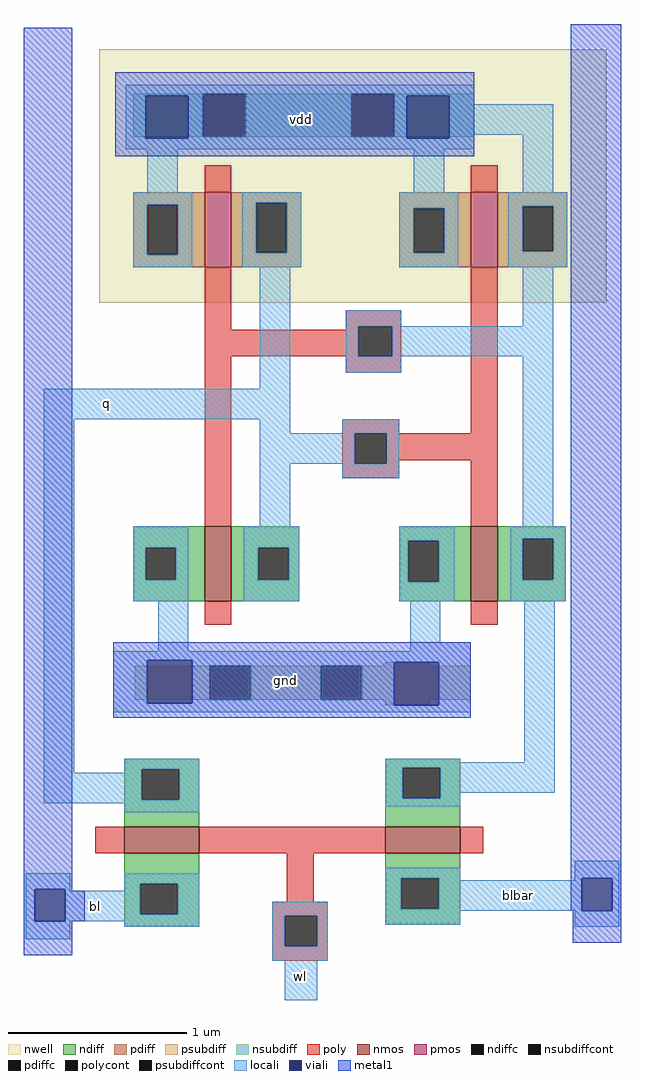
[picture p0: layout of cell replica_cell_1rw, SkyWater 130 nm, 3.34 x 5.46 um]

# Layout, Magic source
magic
tech sky130A
<< nwell >>
rect 699 207 983 349
<< nmos >>
rect 758 40 773 82
rect 907 40 922 82
rect 713 -101 755 -86
rect 859 -101 901 -86
<< pmos >>
rect 758 227 773 269
rect 907 227 922 269
<< ndiff >>
rect 718 70 758 82
rect 718 52 725 70
rect 742 52 758 70
rect 718 40 758 52
rect 773 70 811 82
rect 773 52 788 70
rect 805 52 811 70
rect 773 40 811 52
rect 867 74 907 82
rect 867 51 872 74
rect 889 51 907 74
rect 867 40 907 51
rect 922 75 960 82
rect 922 52 936 75
rect 953 52 960 75
rect 922 40 960 52
rect 713 -54 755 -48
rect 713 -71 723 -54
rect 744 -71 755 -54
rect 713 -86 755 -71
rect 859 -53 901 -48
rect 859 -70 869 -53
rect 890 -70 901 -53
rect 859 -86 901 -70
rect 713 -118 755 -101
rect 713 -135 722 -118
rect 743 -135 755 -118
rect 859 -115 901 -101
rect 713 -142 755 -135
rect 859 -132 868 -115
rect 889 -132 901 -115
rect 859 -141 901 -132
<< pdiff >>
rect 718 262 758 269
rect 718 234 726 262
rect 743 234 758 262
rect 718 227 758 234
rect 773 263 812 269
rect 773 235 787 263
rect 804 235 812 263
rect 773 227 812 235
rect 867 260 907 269
rect 867 235 875 260
rect 892 235 907 260
rect 867 227 907 235
rect 922 261 961 269
rect 922 236 936 261
rect 953 236 961 261
rect 922 227 961 236
<< ndiffc >>
rect 725 52 742 70
rect 788 52 805 70
rect 872 51 889 74
rect 936 52 953 75
rect 723 -71 744 -54
rect 869 -70 890 -53
rect 722 -135 743 -118
rect 868 -132 889 -115
<< pdiffc >>
rect 726 234 743 262
rect 787 235 804 263
rect 875 235 892 260
rect 936 236 953 261
<< psubdiff >>
rect 859 4 884 6
rect 719 -15 761 4
rect 784 -15 823 4
rect 846 -15 907 4
rect 859 -18 884 -15
<< nsubdiff >>
rect 718 300 757 324
rect 781 300 840 324
rect 864 300 909 324
<< psubdiffcont >>
rect 761 -15 784 4
rect 823 -15 846 4
<< nsubdiffcont >>
rect 757 300 781 324
rect 840 300 864 324
<< poly >>
rect 758 269 773 284
rect 907 269 922 284
rect 758 192 773 227
rect 837 194 868 203
rect 837 192 844 194
rect 758 177 844 192
rect 863 177 868 194
rect 758 82 773 177
rect 837 168 868 177
rect 835 134 867 142
rect 907 134 922 227
rect 835 117 842 134
rect 860 119 922 134
rect 860 117 867 119
rect 835 109 867 117
rect 907 82 922 119
rect 758 27 773 40
rect 907 27 922 40
rect 697 -101 713 -86
rect 755 -101 859 -86
rect 901 -101 914 -86
rect 804 -128 819 -101
rect 796 -136 827 -128
rect 796 -153 803 -136
rect 821 -153 827 -136
rect 796 -161 827 -153
<< polycont >>
rect 844 177 863 194
rect 842 117 860 134
rect 803 -153 821 -136
<< locali >>
rect 714 324 909 329
rect 714 323 757 324
rect 714 299 725 323
rect 749 300 757 323
rect 781 300 840 324
rect 864 323 909 324
rect 864 300 871 323
rect 749 299 871 300
rect 895 318 909 323
rect 895 301 953 318
rect 895 299 909 301
rect 714 293 909 299
rect 726 269 743 293
rect 875 269 892 293
rect 936 269 953 301
rect 718 262 751 269
rect 718 234 726 262
rect 743 234 751 262
rect 718 227 751 234
rect 779 263 812 269
rect 779 235 787 263
rect 804 235 812 263
rect 779 227 812 235
rect 867 260 900 269
rect 867 235 875 260
rect 892 235 900 260
rect 867 227 900 235
rect 928 261 961 269
rect 928 236 936 261
rect 953 236 961 261
rect 928 227 961 236
rect 789 159 806 227
rect 837 194 868 203
rect 936 194 953 227
rect 837 177 844 194
rect 863 177 953 194
rect 837 168 868 177
rect 668 142 806 159
rect 668 -56 685 142
rect 789 134 806 142
rect 835 134 867 142
rect 789 117 842 134
rect 860 117 867 134
rect 789 82 806 117
rect 835 109 867 117
rect 936 82 953 177
rect 718 70 749 82
rect 718 52 725 70
rect 742 52 749 70
rect 718 40 749 52
rect 780 70 811 82
rect 780 52 788 70
rect 805 52 811 70
rect 780 40 811 52
rect 867 74 898 82
rect 867 51 872 74
rect 889 51 898 74
rect 867 40 898 51
rect 929 75 960 82
rect 929 52 936 75
rect 953 52 960 75
rect 929 40 960 52
rect 732 12 749 40
rect 873 17 890 40
rect 873 12 907 17
rect 707 7 907 12
rect 707 -17 726 7
rect 751 6 907 7
rect 751 4 864 6
rect 751 -15 761 4
rect 784 -15 823 4
rect 846 -15 864 4
rect 751 -17 864 -15
rect 707 -18 864 -17
rect 889 -18 907 6
rect 707 -22 907 -18
rect 713 -54 755 -48
rect 713 -56 723 -54
rect 668 -71 723 -56
rect 744 -71 755 -54
rect 668 -73 755 -71
rect 713 -78 755 -73
rect 859 -50 901 -48
rect 937 -50 954 40
rect 859 -53 954 -50
rect 859 -70 869 -53
rect 890 -67 954 -53
rect 890 -70 901 -67
rect 859 -75 901 -70
rect 658 -121 683 -112
rect 658 -139 663 -121
rect 680 -122 683 -121
rect 713 -118 755 -112
rect 713 -122 722 -118
rect 680 -135 722 -122
rect 743 -135 755 -118
rect 859 -115 901 -109
rect 680 -139 755 -135
rect 658 -149 683 -139
rect 713 -142 755 -139
rect 796 -136 827 -128
rect 796 -153 803 -136
rect 821 -153 827 -136
rect 859 -132 868 -115
rect 889 -116 901 -115
rect 965 -115 990 -105
rect 965 -116 969 -115
rect 889 -132 969 -116
rect 859 -133 969 -132
rect 986 -133 990 -115
rect 859 -141 901 -133
rect 965 -142 990 -133
rect 796 -161 827 -153
rect 803 -183 821 -161
<< viali >>
rect 725 299 749 323
rect 871 299 895 323
rect 726 -17 751 7
rect 864 -18 889 6
rect 663 -139 680 -121
rect 969 -133 986 -115
<< metal1 >>
rect 657 -121 684 361
rect 708 323 909 336
rect 708 299 725 323
rect 749 299 871 323
rect 895 299 909 323
rect 708 289 909 299
rect 707 7 907 17
rect 707 -17 726 7
rect 751 6 907 7
rect 751 -17 864 6
rect 707 -18 864 -17
rect 889 -18 907 6
rect 707 -25 907 -18
rect 657 -139 663 -121
rect 680 -122 684 -121
rect 963 -115 991 363
rect 680 -139 691 -122
rect 963 -133 969 -115
rect 986 -133 991 -115
rect 657 -158 684 -139
rect 964 -151 991 -133
<< labels >>
flabel locali 804 -177 819 -163 0 FreeSans 72 0 0 0 wl
flabel locali 911 -133 956 -116 0 FreeSans 120 0 0 0 blbar
flabel locali 685 -138 709 -123 0 FreeSans 120 0 0 0 bl
flabel metal1 786 -13 821 4 0 FreeSans 120 0 0 0 gnd
flabel locali 691 143 715 158 0 FreeSans 104 0 0 0 q
flabel metal1 785 295 839 324 0 FreeSans 152 0 0 0 vdd
<< end >>
